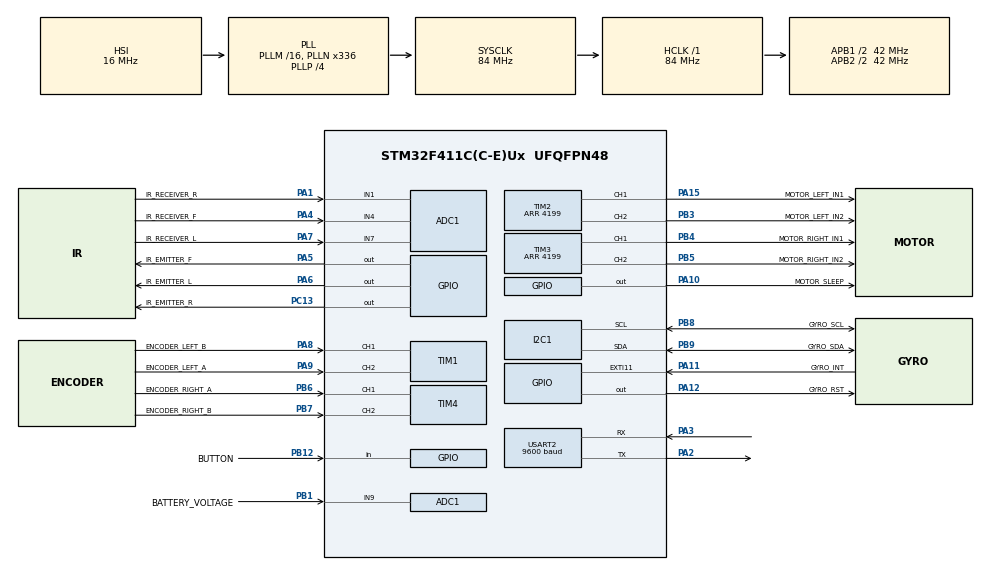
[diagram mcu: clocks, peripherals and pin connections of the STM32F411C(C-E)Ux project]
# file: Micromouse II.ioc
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ADC1.Channel-0\#ChannelRegularConversion=ADC_CHANNEL_4
ADC1.NbrOfConversionFlag=1
ADC1.Rank-0\#ChannelRegularConversion=1
ADC1.SamplingTime-0\#ChannelRegularConversion=ADC_SAMPLETIME_3CYCLES
ADC1.master=1
I2C1.I2C_Mode=I2C_Fast
Mcu.Family=STM32F4
Mcu.Name=STM32F411C(C-E)Ux
Mcu.Package=UFQFPN48
NVIC.ADC_IRQn=true\:0\:0\:false\:false\:true\:true\:true\:true
NVIC.EXTI15_10_IRQn=true\:0\:0\:false\:false\:true\:true\:true\:true
NVIC.I2C1_ER_IRQn=true\:0\:0\:false\:false\:true\:true\:true\:true
NVIC.I2C1_EV_IRQn=true\:0\:0\:false\:false\:true\:true\:true\:true
NVIC.PriorityGroup=NVIC_PRIORITYGROUP_4
NVIC.USART2_IRQn=true\:0\:0\:false\:false\:true\:true\:true\:true
PA1.GPIO_Label=IR_RECEIVER_R
PA1.Signal=ADCx_IN1
PA10.GPIO_Label=MOTOR_SLEEP
PA10.GPIO_PuPd=GPIO_NOPULL
PA10.Signal=GPIO_Output
PA11.GPIO_Label=GYRO_INT
PA11.Signal=GPXTI11
PA12.GPIO_Label=GYRO_RST
PA12.GPIO_Speed=GPIO_SPEED_FREQ_MEDIUM
PA12.PinState=GPIO_PIN_SET
PA12.Signal=GPIO_Output
PA15.GPIO_Label=MOTOR_LEFT_IN1
PA15.GPIO_Speed=GPIO_SPEED_FREQ_VERY_HIGH
PA15.Signal=S_TIM2_CH1_ETR
PA2.Mode=Asynchronous
PA2.Signal=USART2_TX
PA3.Mode=Asynchronous
PA3.Signal=USART2_RX
PA4.GPIO_Label=IR_RECEIVER_F
PA4.Signal=ADCx_IN4
PA5.GPIO_Label=IR_EMITTER_F
PA5.GPIO_Speed=GPIO_SPEED_FREQ_MEDIUM
PA5.Signal=GPIO_Output
PA6.GPIO_Label=IR_EMITTER_L
PA6.GPIO_Speed=GPIO_SPEED_FREQ_MEDIUM
PA6.Signal=GPIO_Output
PA7.GPIO_Label=IR_RECEIVER_L
PA7.Signal=ADCx_IN7
PA8.GPIO_Label=ENCODER_LEFT_B
PA8.Signal=S_TIM1_CH1
PA9.GPIO_Label=ENCODER_LEFT_A
PA9.Signal=S_TIM1_CH2
PB1.GPIO_Label=BATTERY_VOLTAGE
PB1.Signal=ADCx_IN9
PB12.GPIO_Label=BUTTON
PB12.GPIO_PuPd=GPIO_PULLUP
PB12.Signal=GPIO_Input
PB3.GPIO_Label=MOTOR_LEFT_IN2
PB3.GPIO_Speed=GPIO_SPEED_FREQ_VERY_HIGH
PB3.Signal=S_TIM2_CH2
PB4.GPIO_Label=MOTOR_RIGHT_IN1
PB4.GPIO_Speed=GPIO_SPEED_FREQ_VERY_HIGH
PB4.Signal=S_TIM3_CH1
PB5.GPIO_Label=MOTOR_RIGHT_IN2
PB5.GPIO_Speed=GPIO_SPEED_FREQ_VERY_HIGH
PB5.Signal=S_TIM3_CH2
PB6.GPIO_Label=ENCODER_RIGHT_A
PB6.Signal=S_TIM4_CH1
PB7.GPIO_Label=ENCODER_RIGHT_B
PB7.Signal=S_TIM4_CH2
PB8.GPIO_Label=GYRO_SCL
PB8.Mode=I2C
PB8.Signal=I2C1_SCL
PB9.GPIO_Label=GYRO_SDA
PB9.Mode=I2C
PB9.Signal=I2C1_SDA
PC13-ANTI_TAMP.GPIO_Label=IR_EMITTER_R
PC13-ANTI_TAMP.Signal=GPIO_Output
ProjectManager.HeapSize=0x200
ProjectManager.StackSize=0x400
ProjectManager.TargetToolchain=STM32CubeIDE
RCC.48MHZClocksFreq_Value=84000000
RCC.AHBFreq_Value=84000000
RCC.APB1CLKDivider=RCC_HCLK_DIV2
RCC.APB1Freq_Value=42000000
RCC.APB1TimFreq_Value=84000000
RCC.APB2CLKDivider=RCC_HCLK_DIV2
RCC.APB2Freq_Value=42000000
RCC.APB2TimFreq_Value=84000000
RCC.CortexFreq_Value=84000000
RCC.HCLKFreq_Value=84000000
RCC.HSE_VALUE=25000000
RCC.HSI_VALUE=16000000
RCC.LSE_VALUE=32768
RCC.PLLN=336
RCC.PLLP=RCC_PLLP_DIV4
RCC.SYSCLKFreq_VALUE=84000000
RCC.SYSCLKSource=RCC_SYSCLKSOURCE_PLLCLK
RCC.VCOOutputFreq_Value=336000000
SH.ADCx_IN1.0=ADC1_IN1,IN1
SH.ADCx_IN4.0=ADC1_IN4,IN4
SH.ADCx_IN7.0=ADC1_IN7,IN7
SH.ADCx_IN9.0=ADC1_IN9,IN9
SH.S_TIM1_CH1.0=TIM1_CH1,Encoder_Interface
SH.S_TIM1_CH2.0=TIM1_CH2,Encoder_Interface
SH.S_TIM2_CH1_ETR.0=TIM2_CH1,PWM Generation1 CH1
SH.S_TIM2_CH2.0=TIM2_CH2,PWM Generation2 CH2
SH.S_TIM3_CH1.0=TIM3_CH1,PWM Generation1 CH1
SH.S_TIM3_CH2.0=TIM3_CH2,PWM Generation2 CH2
SH.S_TIM4_CH1.0=TIM4_CH1,Encoder_Interface
SH.S_TIM4_CH2.0=TIM4_CH2,Encoder_Interface
TIM2.AutoReloadPreload=TIM_AUTORELOAD_PRELOAD_ENABLE
TIM2.Channel-PWM\ Generation1\ CH1=TIM_CHANNEL_1
TIM2.Channel-PWM\ Generation2\ CH2=TIM_CHANNEL_2
TIM2.Period=4199
TIM3.AutoReloadPreload=TIM_AUTORELOAD_PRELOAD_ENABLE
TIM3.Channel-PWM\ Generation1\ CH1=TIM_CHANNEL_1
TIM3.Channel-PWM\ Generation2\ CH2=TIM_CHANNEL_2
TIM3.Period=4199
USART2.BaudRate=9600
USART2.VirtualMode=VM_ASYNC
VP_TIM2_VS_ClockSourceINT.Mode=Internal
VP_TIM3_VS_ClockSourceINT.Mode=Internal
board=custom

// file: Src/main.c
/* USER CODE BEGIN Header */
/**
  ******************************************************************************
  * @file           : main.c
  * @brief          : Main program body
  ******************************************************************************
  * @attention
  *
  * Copyright (c) 2026 STMicroelectronics.
  * All rights reserved.
  *
  * This software is licensed under terms that can be found in the LICENSE file
  * in the root directory of this software component.
  * If no LICENSE file comes with this software, it is provided AS-IS.
  *
  ******************************************************************************
  */
/* USER CODE END Header */
#include "main.h"

/* USER CODE BEGIN Includes */
#include "calibration.h"
#include "ramp_profile.h"
#include "motion_controller.h"
#include "bno055.h"
#include "motion_state.h"
#include "bt.h"
#include "dummy_maze.h"
#include "button.h"
#include "maze_solver.h"
#include "maze_solver2.h"
/* USER CODE END Includes */

/* USER CODE BEGIN PD */
#define MODE_CALIBRATION  0
#define MODE_RUN          1
#define CURRENT_MODE      1
#define TEST_DUMMY_MAZE   0
#define TEST_MAZE_SOLVER  0
#define TEST_MAZE_SOLVER  0
#define TEST_MAZE_SOLVER2 1
/* USER CODE END PD */

ADC_HandleTypeDef hadc1;

I2C_HandleTypeDef hi2c1;

TIM_HandleTypeDef htim1;
TIM_HandleTypeDef htim2;
TIM_HandleTypeDef htim3;
TIM_HandleTypeDef htim4;

UART_HandleTypeDef huart2;

/* USER CODE BEGIN PV */
volatile float g_forwardSpeed_mm_s = 0.0f;
volatile uint32_t g_systickMaxCycles = 0;
volatile uint32_t g_systickLastCycles = 0;
volatile float g_currentHeading = 0.0f;
volatile float g_currentGyroZ = 0.0f;
volatile float g_rotationTargetHeading = 0.0f;
volatile uint8_t g_spinTurnActive = 0;
volatile uint8_t g_irSteerOffInArc = 0;   // 0 = unchanged behaviour, 1 = no IR steering while an arc is running
volatile uint8_t g_rotationBraked = 0;
volatile uint8_t g_systickBnoEnabled = 0;
volatile uint32_t g_systickTickCount = 0;
volatile uint8_t g_motionControlEnabled = 0;
volatile uint8_t g_robotIsMoving = 0;   // safe default: not moving
volatile uint32_t g_runStartTick = 0;   // HAL tick when the start button was pressed (run clock, see main.h)
volatile uint8_t  g_runClockArmed = 0;  // 1 = SysTick is counting the run clock
volatile uint8_t  g_runExpired = 0;     // 1 = the run time limit has passed: motors are cut, solver must stop
uint8_t bnoChipID = 0;
BNO055_Status bnoStatus;
/* USER CODE END PV */

void SystemClock_Config(void);
static void MX_GPIO_Init(void);
static void MX_TIM1_Init(void);
static void MX_TIM4_Init(void);
static void MX_TIM2_Init(void);
static void MX_TIM3_Init(void);
static void MX_I2C1_Init(void);
static void MX_USART2_UART_Init(void);
static void MX_ADC1_Init(void);

int main(void)
{

  /* MCU Configuration--------------------------------------------------------*/

  /* Reset of all peripherals, Initializes the Flash interface and the Systick. */
  HAL_Init();

  /* Configure the system clock */
  SystemClock_Config();

  /* Initialize all configured peripherals */
  MX_GPIO_Init();
  MX_TIM1_Init();
  MX_TIM4_Init();
  MX_TIM2_Init();
  MX_TIM3_Init();
  MX_I2C1_Init();
  MX_USART2_UART_Init();
  MX_ADC1_Init();
  /* USER CODE BEGIN 2 */
  CoreDebug->DEMCR |= CoreDebug_DEMCR_TRCENA_Msk;
  DWT->CYCCNT = 0;
  DWT->CTRL |= DWT_CTRL_CYCCNTENA_Msk;
  BNO055_Reset();
  bnoStatus = BNO055_ReadChipID(&hi2c1, &bnoChipID);
  if ((bnoStatus != BNO055_OK) || (bnoChipID != BNO055_CHIP_ID_VALUE))
  {
	  while (1) { HAL_Delay(1000); }
  }
  bnoStatus = BNO055_Init(&hi2c1);
  if (bnoStatus != BNO055_OK)
  {
	  while (1) { HAL_Delay(1000); }
  }
  bnoStatus = BNO055_SetMode(&hi2c1, BNO055_MODE_IMUPLUS);
  if (bnoStatus != BNO055_OK)
  {
	  while (1) { HAL_Delay(1000); }
  }
  HAL_Delay(100);
  g_systickBnoEnabled = 1;
  MotionState_Init();
  #if CURRENT_MODE == MODE_CALIBRATION
     Calibration_Run();
  #endif
#if TEST_DUMMY_MAZE
    Wait_For_Button();
    Encoder_Init();
    Motor_Init();
    Motor_Enable();
    HAL_Delay(500);
    BT_SendLine("===== DUMMY MAZE READY =====");
    Wait_For_Button();
    DummyMaze_Run(30);
#endif
#if TEST_MAZE_SOLVER
    Wait_For_Button();
	Encoder_Init();
	Motor_Init();
	Motor_Enable();
	HAL_Delay(500);
	BT_SendLine("===== MAZE SOLVER READY =====");
	Wait_For_Button();
	Maze_Run(100);
#endif
#if TEST_MAZE_SOLVER2
    Wait_For_Button();
	Encoder_Init();
	Motor_Init();
	Motor_Enable();
	HAL_Delay(500);
	BT_SendLine("===== MAZE SOLVER READY =====");
	Wait_For_Button();
	g_runExpired = 0;                  // start the run clock at the button press
	g_runStartTick = HAL_GetTick();
	g_runClockArmed = 1;
	Maze_Run2(100);
	g_runClockArmed = 0;
#endif
  /* USER CODE END 2 */

  /* Infinite loop */
  while (1)
  {

  }
}

void SystemClock_Config(void)
{
  RCC_OscInitTypeDef RCC_OscInitStruct = {0};
  RCC_ClkInitTypeDef RCC_ClkInitStruct = {0};

  /** Configure the main internal regulator output voltage
  */
  __HAL_RCC_PWR_CLK_ENABLE();
  __HAL_PWR_VOLTAGESCALING_CONFIG(PWR_REGULATOR_VOLTAGE_SCALE1);

  /** Initializes the RCC Oscillators according to the specified parameters
  * in the RCC_OscInitTypeDef structure.
  */
  RCC_OscInitStruct.OscillatorType = RCC_OSCILLATORTYPE_HSI;
  RCC_OscInitStruct.HSIState = RCC_HSI_ON;
  RCC_OscInitStruct.HSICalibrationValue = RCC_HSICALIBRATION_DEFAULT;
  RCC_OscInitStruct.PLL.PLLState = RCC_PLL_ON;
  RCC_OscInitStruct.PLL.PLLSource = RCC_PLLSOURCE_HSI;
  RCC_OscInitStruct.PLL.PLLM = 16;
  RCC_OscInitStruct.PLL.PLLN = 336;
  RCC_OscInitStruct.PLL.PLLP = RCC_PLLP_DIV4;
  RCC_OscInitStruct.PLL.PLLQ = 4;
  if (HAL_RCC_OscConfig(&RCC_OscInitStruct) != HAL_OK)
  {
    Error_Handler();
  }

  /** Initializes the CPU, AHB and APB buses clocks
  */
  RCC_ClkInitStruct.ClockType = RCC_CLOCKTYPE_HCLK|RCC_CLOCKTYPE_SYSCLK
                              |RCC_CLOCKTYPE_PCLK1|RCC_CLOCKTYPE_PCLK2;
  RCC_ClkInitStruct.SYSCLKSource = RCC_SYSCLKSOURCE_PLLCLK;
  RCC_ClkInitStruct.AHBCLKDivider = RCC_SYSCLK_DIV1;
  RCC_ClkInitStruct.APB1CLKDivider = RCC_HCLK_DIV2;
  RCC_ClkInitStruct.APB2CLKDivider = RCC_HCLK_DIV2;

  if (HAL_RCC_ClockConfig(&RCC_ClkInitStruct, FLASH_LATENCY_2) != HAL_OK)
  {
    Error_Handler();
  }
}

static void MX_ADC1_Init(void)
{

  ADC_ChannelConfTypeDef sConfig = {0};

  /** Configure the global features of the ADC (Clock, Resolution, Data Alignment and number of conversion)
  */
  hadc1.Instance = ADC1;
  hadc1.Init.ClockPrescaler = ADC_CLOCK_SYNC_PCLK_DIV2;
  hadc1.Init.Resolution = ADC_RESOLUTION_12B;
  hadc1.Init.ScanConvMode = DISABLE;
  hadc1.Init.ContinuousConvMode = DISABLE;
  hadc1.Init.DiscontinuousConvMode = DISABLE;
  hadc1.Init.ExternalTrigConvEdge = ADC_EXTERNALTRIGCONVEDGE_NONE;
  hadc1.Init.ExternalTrigConv = ADC_SOFTWARE_START;
  hadc1.Init.DataAlign = ADC_DATAALIGN_RIGHT;
  hadc1.Init.NbrOfConversion = 1;
  hadc1.Init.DMAContinuousRequests = DISABLE;
  hadc1.Init.EOCSelection = ADC_EOC_SINGLE_CONV;
  if (HAL_ADC_Init(&hadc1) != HAL_OK)
  {
    Error_Handler();
  }

  /** Configure for the selected ADC regular channel its corresponding rank in the sequencer and its sample time.
  */
  sConfig.Channel = ADC_CHANNEL_4;
  sConfig.Rank = 1;
  sConfig.SamplingTime = ADC_SAMPLETIME_3CYCLES;
  if (HAL_ADC_ConfigChannel(&hadc1, &sConfig) != HAL_OK)
  {
    Error_Handler();
  }

}

static void MX_I2C1_Init(void)
{

  hi2c1.Instance = I2C1;
  hi2c1.Init.ClockSpeed = 400000;
  hi2c1.Init.DutyCycle = I2C_DUTYCYCLE_2;
  hi2c1.Init.OwnAddress1 = 0;
  hi2c1.Init.AddressingMode = I2C_ADDRESSINGMODE_7BIT;
  hi2c1.Init.DualAddressMode = I2C_DUALADDRESS_DISABLE;
  hi2c1.Init.OwnAddress2 = 0;
  hi2c1.Init.GeneralCallMode = I2C_GENERALCALL_DISABLE;
  hi2c1.Init.NoStretchMode = I2C_NOSTRETCH_DISABLE;
  if (HAL_I2C_Init(&hi2c1) != HAL_OK)
  {
    Error_Handler();
  }

}

static void MX_TIM1_Init(void)
{

  TIM_Encoder_InitTypeDef sConfig = {0};
  TIM_MasterConfigTypeDef sMasterConfig = {0};

  htim1.Instance = TIM1;
  htim1.Init.Prescaler = 0;
  htim1.Init.CounterMode = TIM_COUNTERMODE_UP;
  htim1.Init.Period = 65535;
  htim1.Init.ClockDivision = TIM_CLOCKDIVISION_DIV1;
  htim1.Init.RepetitionCounter = 0;
  htim1.Init.AutoReloadPreload = TIM_AUTORELOAD_PRELOAD_DISABLE;
  sConfig.EncoderMode = TIM_ENCODERMODE_TI1;
  sConfig.IC1Polarity = TIM_ICPOLARITY_RISING;
  sConfig.IC1Selection = TIM_ICSELECTION_DIRECTTI;
  sConfig.IC1Prescaler = TIM_ICPSC_DIV1;
  sConfig.IC1Filter = 0;
  sConfig.IC2Polarity = TIM_ICPOLARITY_RISING;
  sConfig.IC2Selection = TIM_ICSELECTION_DIRECTTI;
  sConfig.IC2Prescaler = TIM_ICPSC_DIV1;
  sConfig.IC2Filter = 0;
  if (HAL_TIM_Encoder_Init(&htim1, &sConfig) != HAL_OK)
  {
    Error_Handler();
  }
  sMasterConfig.MasterOutputTrigger = TIM_TRGO_RESET;
  sMasterConfig.MasterSlaveMode = TIM_MASTERSLAVEMODE_DISABLE;
  if (HAL_TIMEx_MasterConfigSynchronization(&htim1, &sMasterConfig) != HAL_OK)
  {
    Error_Handler();
  }

}

static void MX_TIM2_Init(void)
{

  TIM_ClockConfigTypeDef sClockSourceConfig = {0};
  TIM_MasterConfigTypeDef sMasterConfig = {0};
  TIM_OC_InitTypeDef sConfigOC = {0};

  htim2.Instance = TIM2;
  htim2.Init.Prescaler = 0;
  htim2.Init.CounterMode = TIM_COUNTERMODE_UP;
  htim2.Init.Period = 4199;
  htim2.Init.ClockDivision = TIM_CLOCKDIVISION_DIV1;
  htim2.Init.AutoReloadPreload = TIM_AUTORELOAD_PRELOAD_ENABLE;
  if (HAL_TIM_Base_Init(&htim2) != HAL_OK)
  {
    Error_Handler();
  }
  sClockSourceConfig.ClockSource = TIM_CLOCKSOURCE_INTERNAL;
  if (HAL_TIM_ConfigClockSource(&htim2, &sClockSourceConfig) != HAL_OK)
  {
    Error_Handler();
  }
  if (HAL_TIM_PWM_Init(&htim2) != HAL_OK)
  {
    Error_Handler();
  }
  sMasterConfig.MasterOutputTrigger = TIM_TRGO_RESET;
  sMasterConfig.MasterSlaveMode = TIM_MASTERSLAVEMODE_DISABLE;
  if (HAL_TIMEx_MasterConfigSynchronization(&htim2, &sMasterConfig) != HAL_OK)
  {
    Error_Handler();
  }
  sConfigOC.OCMode = TIM_OCMODE_PWM1;
  sConfigOC.Pulse = 0;
  sConfigOC.OCPolarity = TIM_OCPOLARITY_HIGH;
  sConfigOC.OCFastMode = TIM_OCFAST_DISABLE;
  if (HAL_TIM_PWM_ConfigChannel(&htim2, &sConfigOC, TIM_CHANNEL_1) != HAL_OK)
  {
    Error_Handler();
  }
  if (HAL_TIM_PWM_ConfigChannel(&htim2, &sConfigOC, TIM_CHANNEL_2) != HAL_OK)
  {
    Error_Handler();
  }
  HAL_TIM_MspPostInit(&htim2);

}

static void MX_TIM3_Init(void)
{

  TIM_ClockConfigTypeDef sClockSourceConfig = {0};
  TIM_MasterConfigTypeDef sMasterConfig = {0};
  TIM_OC_InitTypeDef sConfigOC = {0};

  htim3.Instance = TIM3;
  htim3.Init.Prescaler = 0;
  htim3.Init.CounterMode = TIM_COUNTERMODE_UP;
  htim3.Init.Period = 4199;
  htim3.Init.ClockDivision = TIM_CLOCKDIVISION_DIV1;
  htim3.Init.AutoReloadPreload = TIM_AUTORELOAD_PRELOAD_ENABLE;
  if (HAL_TIM_Base_Init(&htim3) != HAL_OK)
  {
    Error_Handler();
  }
  sClockSourceConfig.ClockSource = TIM_CLOCKSOURCE_INTERNAL;
  if (HAL_TIM_ConfigClockSource(&htim3, &sClockSourceConfig) != HAL_OK)
  {
    Error_Handler();
  }
  if (HAL_TIM_PWM_Init(&htim3) != HAL_OK)
  {
    Error_Handler();
  }
  sMasterConfig.MasterOutputTrigger = TIM_TRGO_RESET;
  sMasterConfig.MasterSlaveMode = TIM_MASTERSLAVEMODE_DISABLE;
  if (HAL_TIMEx_MasterConfigSynchronization(&htim3, &sMasterConfig) != HAL_OK)
  {
    Error_Handler();
  }
  sConfigOC.OCMode = TIM_OCMODE_PWM1;
  sConfigOC.Pulse = 0;
  sConfigOC.OCPolarity = TIM_OCPOLARITY_HIGH;
  sConfigOC.OCFastMode = TIM_OCFAST_DISABLE;
  if (HAL_TIM_PWM_ConfigChannel(&htim3, &sConfigOC, TIM_CHANNEL_1) != HAL_OK)
  {
    Error_Handler();
  }
  if (HAL_TIM_PWM_ConfigChannel(&htim3, &sConfigOC, TIM_CHANNEL_2) != HAL_OK)
  {
    Error_Handler();
  }
  HAL_TIM_MspPostInit(&htim3);

}

static void MX_TIM4_Init(void)
{

  TIM_Encoder_InitTypeDef sConfig = {0};
  TIM_MasterConfigTypeDef sMasterConfig = {0};

  htim4.Instance = TIM4;
  htim4.Init.Prescaler = 0;
  htim4.Init.CounterMode = TIM_COUNTERMODE_UP;
  htim4.Init.Period = 65535;
  htim4.Init.ClockDivision = TIM_CLOCKDIVISION_DIV1;
  htim4.Init.AutoReloadPreload = TIM_AUTORELOAD_PRELOAD_DISABLE;
  sConfig.EncoderMode = TIM_ENCODERMODE_TI1;
  sConfig.IC1Polarity = TIM_ICPOLARITY_RISING;
  sConfig.IC1Selection = TIM_ICSELECTION_DIRECTTI;
  sConfig.IC1Prescaler = TIM_ICPSC_DIV1;
  sConfig.IC1Filter = 0;
  sConfig.IC2Polarity = TIM_ICPOLARITY_RISING;
  sConfig.IC2Selection = TIM_ICSELECTION_DIRECTTI;
  sConfig.IC2Prescaler = TIM_ICPSC_DIV1;
  sConfig.IC2Filter = 0;
  if (HAL_TIM_Encoder_Init(&htim4, &sConfig) != HAL_OK)
  {
    Error_Handler();
  }
  sMasterConfig.MasterOutputTrigger = TIM_TRGO_RESET;
  sMasterConfig.MasterSlaveMode = TIM_MASTERSLAVEMODE_DISABLE;
  if (HAL_TIMEx_MasterConfigSynchronization(&htim4, &sMasterConfig) != HAL_OK)
  {
    Error_Handler();
  }

}

static void MX_USART2_UART_Init(void)
{

  huart2.Instance = USART2;
  huart2.Init.BaudRate = 9600;
  huart2.Init.WordLength = UART_WORDLENGTH_8B;
  huart2.Init.StopBits = UART_STOPBITS_1;
  huart2.Init.Parity = UART_PARITY_NONE;
  huart2.Init.Mode = UART_MODE_TX_RX;
  huart2.Init.HwFlowCtl = UART_HWCONTROL_NONE;
  huart2.Init.OverSampling = UART_OVERSAMPLING_16;
  if (HAL_UART_Init(&huart2) != HAL_OK)
  {
    Error_Handler();
  }

}

static void MX_GPIO_Init(void)
{
  GPIO_InitTypeDef GPIO_InitStruct = {0};

  /* GPIO Ports Clock Enable */
  __HAL_RCC_GPIOC_CLK_ENABLE();
  __HAL_RCC_GPIOA_CLK_ENABLE();
  __HAL_RCC_GPIOB_CLK_ENABLE();

  /*Configure GPIO pin Output Level */
  HAL_GPIO_WritePin(IR_EMITTER_R_GPIO_Port, IR_EMITTER_R_Pin, GPIO_PIN_RESET);

  /*Configure GPIO pin Output Level */
  HAL_GPIO_WritePin(GPIOA, IR_EMITTER_F_Pin|IR_EMITTER_L_Pin|MOTOR_SLEEP_Pin, GPIO_PIN_RESET);

  /*Configure GPIO pin Output Level */
  HAL_GPIO_WritePin(GYRO_RST_GPIO_Port, GYRO_RST_Pin, GPIO_PIN_SET);

  /*Configure GPIO pin : IR_EMITTER_R_Pin */
  GPIO_InitStruct.Pin = IR_EMITTER_R_Pin;
  GPIO_InitStruct.Mode = GPIO_MODE_OUTPUT_PP;
  GPIO_InitStruct.Pull = GPIO_NOPULL;
  GPIO_InitStruct.Speed = GPIO_SPEED_FREQ_LOW;
  HAL_GPIO_Init(IR_EMITTER_R_GPIO_Port, &GPIO_InitStruct);

  /*Configure GPIO pins : IR_EMITTER_F_Pin IR_EMITTER_L_Pin GYRO_RST_Pin */
  GPIO_InitStruct.Pin = IR_EMITTER_F_Pin|IR_EMITTER_L_Pin|GYRO_RST_Pin;
  GPIO_InitStruct.Mode = GPIO_MODE_OUTPUT_PP;
  GPIO_InitStruct.Pull = GPIO_NOPULL;
  GPIO_InitStruct.Speed = GPIO_SPEED_FREQ_MEDIUM;
  HAL_GPIO_Init(GPIOA, &GPIO_InitStruct);

  /*Configure GPIO pin : BUTTON_Pin */
  GPIO_InitStruct.Pin = BUTTON_Pin;
  GPIO_InitStruct.Mode = GPIO_MODE_INPUT;
  GPIO_InitStruct.Pull = GPIO_PULLUP;
  HAL_GPIO_Init(BUTTON_GPIO_Port, &GPIO_InitStruct);

  /*Configure GPIO pin : MOTOR_SLEEP_Pin */
  GPIO_InitStruct.Pin = MOTOR_SLEEP_Pin;
  GPIO_InitStruct.Mode = GPIO_MODE_OUTPUT_PP;
  GPIO_InitStruct.Pull = GPIO_NOPULL;
  GPIO_InitStruct.Speed = GPIO_SPEED_FREQ_LOW;
  HAL_GPIO_Init(MOTOR_SLEEP_GPIO_Port, &GPIO_InitStruct);

  /*Configure GPIO pin : GYRO_INT_Pin */
  GPIO_InitStruct.Pin = GYRO_INT_Pin;
  GPIO_InitStruct.Mode = GPIO_MODE_IT_RISING;
  GPIO_InitStruct.Pull = GPIO_NOPULL;
  HAL_GPIO_Init(GYRO_INT_GPIO_Port, &GPIO_InitStruct);

  /* EXTI interrupt init*/
  HAL_NVIC_SetPriority(EXTI15_10_IRQn, 0, 0);
  HAL_NVIC_EnableIRQ(EXTI15_10_IRQn);

}

void Error_Handler(void)
{
  __disable_irq();
  while (1)
  {
  }
}
